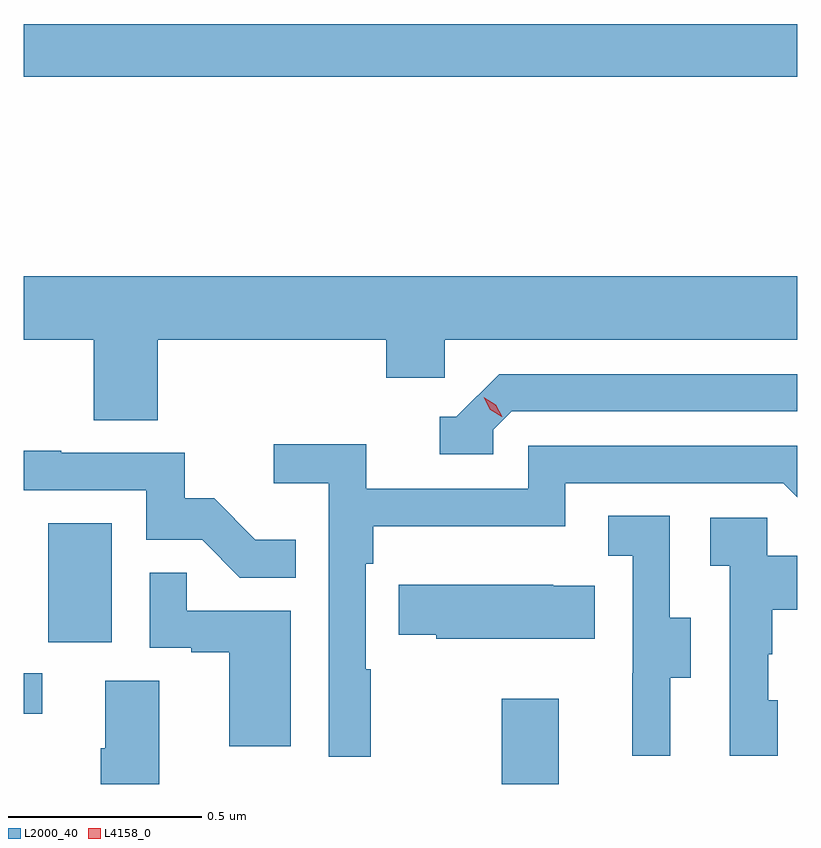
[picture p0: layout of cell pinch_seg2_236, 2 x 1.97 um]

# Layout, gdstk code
import gdstk
lib = gdstk.Library(unit=1e-6, precision=1e-09)
def R(c, l, rs):  # rectangles x0, y0, x1, y1
    for r in rs: c.add(gdstk.rectangle(r[:2], r[2:], *l))
def P(c, l, *ps):  # polygons
    for p in ps: c.add(gdstk.Polygon(p, *l))
L2000_40 = (2000, 40)
L4158_0 = (4158, 0)

pinch_seg2_236 = lib.new_cell('pinch_seg2_236')
R(pinch_seg2_236, L2000_40, [(987.448,654.479,987.595,654.7), (986.212,654.66,986.26,654.765), (986.276,654.846,986.44,655.153), (986.212,656.308,988.212,656.444)])
P(pinch_seg2_236, L2000_40, [(986.558,655.628),(987.149,655.628),(987.149,655.53),(987.3,655.53),(987.3,655.628),(988.212,655.628),(988.212,655.792),(986.212,655.792),(986.212,655.628),(986.393,655.628),(986.393,655.42),(986.558,655.42)],
  [(987.426,655.395),(987.474,655.443),(988.212,655.443),(988.212,655.539),(987.441,655.539),(987.33,655.428),(987.287,655.428),(987.287,655.332),(987.426,655.332)],
  [(987.109,654.776),(987.096,654.776),(987.096,655.049),(987.116,655.049),(987.116,655.145),(987.612,655.145),(987.612,655.257),(988.176,655.257),(988.212,655.221),(988.212,655.353),(987.516,655.353),(987.516,655.242),(987.098,655.242),(987.098,655.358),(986.859,655.358),(986.859,655.256),(987,655.256),(987,654.549),(987.109,654.549)],
  [(986.915,655.111),(986.811,655.111),(986.704,655.218),(986.628,655.218),(986.628,655.335),(986.309,655.335),(986.309,655.34),(986.212,655.34),(986.212,655.239),(986.529,655.239),(986.529,655.11),(986.673,655.11),(986.771,655.012),(986.915,655.012)],
  [(987.883,654.754),(987.937,654.754),(987.937,654.909),(987.882,654.909),(987.882,655.172),(987.723,655.172),(987.723,655.069),(987.786,655.069),(987.786,654.765),(987.785,654.765),(987.785,654.552),(987.883,654.552)],
  [(988.162,654.696),(988.137,654.696),(988.137,654.815),(988.147,654.815),(988.147,654.929),(988.212,654.929),(988.212,655.069),(988.134,655.069),(988.134,655.167),(987.987,655.167),(987.987,655.043),(988.038,655.043),(988.038,654.552),(988.162,654.552)],
  [(986.902,654.927),(986.633,654.927),(986.633,655.025),(986.538,655.025),(986.538,654.831),(986.645,654.831),(986.645,654.819),(986.744,654.819),(986.744,654.576),(986.902,654.576)],
  [(987.689,654.991),(987.581,654.991),(987.581,654.994),(987.181,654.994),(987.181,654.865),(987.279,654.865),(987.279,654.854),(987.689,654.854)],
  [(986.563,654.746),(986.423,654.746),(986.423,654.572),(986.411,654.572),(986.411,654.479),(986.563,654.479)])
P(pinch_seg2_236, L4158_0, [(987.448,655.428),(987.418,655.447),(987.401,655.479),(987.401,655.479),(987.401,655.479),(987.432,655.46),(987.449,655.428),(987.449,655.428)])

lib.write_gds('pinch_seg2_236.gds')
